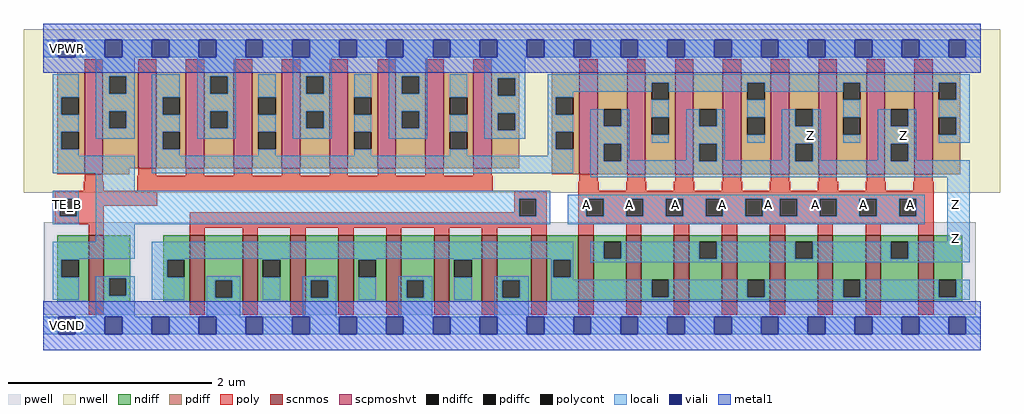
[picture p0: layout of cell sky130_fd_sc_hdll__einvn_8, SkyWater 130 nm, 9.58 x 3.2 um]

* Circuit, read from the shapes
.subckt sky130_fd_sc_hdll__einvn_8 A TE_B VGND VNB VPB VPWR Z
XM1 VGND TE_B n1 VNB sky130_fd_pr__nfet_01v8 w=0.65 l=0.15
XM2 VGND n1 n2 VNB sky130_fd_pr__nfet_01v8 w=0.65 l=0.15 m=8
XM3 Z A n2 VNB sky130_fd_pr__nfet_01v8 w=0.65 l=0.15 m=8
XM4 VPWR TE_B n1 VPB sky130_fd_pr__pfet_01v8_hvt w=1 l=0.18
XM5 n3 TE_B VPWR VPB sky130_fd_pr__pfet_01v8_hvt w=0.94 l=0.18 m=8
XM6 Z A n3 VPB sky130_fd_pr__pfet_01v8_hvt w=1 l=0.18 m=8
.ends

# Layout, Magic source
magic
tech sky130A
magscale 1 2
<< nwell >>
rect -38 261 1878 582
<< pwell >>
rect 1 21 1830 203
rect 30 -17 64 21
<< scnmos >>
rect 89 47 119 177
rect 287 47 317 177
rect 391 47 421 177
rect 485 47 515 177
rect 579 47 609 177
rect 673 47 703 177
rect 767 47 797 177
rect 861 47 891 177
rect 958 47 988 177
rect 1050 47 1080 177
rect 1144 47 1174 177
rect 1238 47 1268 177
rect 1332 47 1362 177
rect 1426 47 1456 177
rect 1520 47 1550 177
rect 1614 47 1644 177
rect 1718 47 1748 177
<< scpmoshvt >>
rect 81 297 117 497
rect 186 309 222 497
rect 280 309 316 497
rect 374 309 410 497
rect 468 309 504 497
rect 562 309 598 497
rect 656 309 692 497
rect 750 309 786 497
rect 844 309 880 497
rect 1052 297 1088 497
rect 1146 297 1182 497
rect 1240 297 1276 497
rect 1334 297 1370 497
rect 1428 297 1464 497
rect 1522 297 1558 497
rect 1616 297 1652 497
rect 1710 297 1746 497
<< ndiff >>
rect 27 129 89 177
rect 27 95 35 129
rect 69 95 89 129
rect 27 47 89 95
rect 119 93 171 177
rect 119 59 129 93
rect 163 59 171 93
rect 119 47 171 59
rect 235 129 287 177
rect 235 95 243 129
rect 277 95 287 129
rect 235 47 287 95
rect 317 89 391 177
rect 317 55 337 89
rect 371 55 391 89
rect 317 47 391 55
rect 421 129 485 177
rect 421 95 431 129
rect 465 95 485 129
rect 421 47 485 95
rect 515 89 579 177
rect 515 55 525 89
rect 559 55 579 89
rect 515 47 579 55
rect 609 129 673 177
rect 609 95 619 129
rect 653 95 673 129
rect 609 47 673 95
rect 703 89 767 177
rect 703 55 713 89
rect 747 55 767 89
rect 703 47 767 55
rect 797 129 861 177
rect 797 95 807 129
rect 841 95 861 129
rect 797 47 861 95
rect 891 89 958 177
rect 891 55 901 89
rect 935 55 958 89
rect 891 47 958 55
rect 988 129 1050 177
rect 988 95 1001 129
rect 1035 95 1050 129
rect 988 47 1050 95
rect 1080 165 1144 177
rect 1080 131 1100 165
rect 1134 131 1144 165
rect 1080 47 1144 131
rect 1174 90 1238 177
rect 1174 56 1194 90
rect 1228 56 1238 90
rect 1174 47 1238 56
rect 1268 165 1332 177
rect 1268 131 1288 165
rect 1322 131 1332 165
rect 1268 47 1332 131
rect 1362 90 1426 177
rect 1362 56 1382 90
rect 1416 56 1426 90
rect 1362 47 1426 56
rect 1456 165 1520 177
rect 1456 131 1476 165
rect 1510 131 1520 165
rect 1456 47 1520 131
rect 1550 90 1614 177
rect 1550 56 1570 90
rect 1604 56 1614 90
rect 1550 47 1614 56
rect 1644 165 1718 177
rect 1644 131 1664 165
rect 1698 131 1718 165
rect 1644 47 1718 131
rect 1748 90 1804 177
rect 1748 56 1758 90
rect 1792 56 1804 90
rect 1748 47 1804 56
<< pdiff >>
rect 27 448 81 497
rect 27 414 35 448
rect 69 414 81 448
rect 27 380 81 414
rect 27 346 35 380
rect 69 346 81 380
rect 27 297 81 346
rect 117 489 186 497
rect 117 455 129 489
rect 163 455 186 489
rect 117 421 186 455
rect 117 387 129 421
rect 163 387 186 421
rect 117 309 186 387
rect 222 448 280 497
rect 222 414 234 448
rect 268 414 280 448
rect 222 380 280 414
rect 222 346 234 380
rect 268 346 280 380
rect 222 309 280 346
rect 316 489 374 497
rect 316 455 328 489
rect 362 455 374 489
rect 316 421 374 455
rect 316 387 328 421
rect 362 387 374 421
rect 316 309 374 387
rect 410 448 468 497
rect 410 414 422 448
rect 456 414 468 448
rect 410 380 468 414
rect 410 346 422 380
rect 456 346 468 380
rect 410 309 468 346
rect 504 489 562 497
rect 504 455 516 489
rect 550 455 562 489
rect 504 421 562 455
rect 504 387 516 421
rect 550 387 562 421
rect 504 309 562 387
rect 598 448 656 497
rect 598 414 610 448
rect 644 414 656 448
rect 598 380 656 414
rect 598 346 610 380
rect 644 346 656 380
rect 598 309 656 346
rect 692 489 750 497
rect 692 455 704 489
rect 738 455 750 489
rect 692 421 750 455
rect 692 387 704 421
rect 738 387 750 421
rect 692 309 750 387
rect 786 448 844 497
rect 786 414 798 448
rect 832 414 844 448
rect 786 380 844 414
rect 786 346 798 380
rect 832 346 844 380
rect 786 309 844 346
rect 880 485 934 497
rect 880 451 892 485
rect 926 451 934 485
rect 880 417 934 451
rect 880 383 892 417
rect 926 383 934 417
rect 880 309 934 383
rect 998 448 1052 497
rect 998 414 1006 448
rect 1040 414 1052 448
rect 998 380 1052 414
rect 998 346 1006 380
rect 1040 346 1052 380
rect 117 297 169 309
rect 998 297 1052 346
rect 1088 425 1146 497
rect 1088 391 1100 425
rect 1134 391 1146 425
rect 1088 357 1146 391
rect 1088 323 1100 357
rect 1134 323 1146 357
rect 1088 297 1146 323
rect 1182 477 1240 497
rect 1182 443 1194 477
rect 1228 443 1240 477
rect 1182 409 1240 443
rect 1182 375 1194 409
rect 1228 375 1240 409
rect 1182 297 1240 375
rect 1276 425 1334 497
rect 1276 391 1288 425
rect 1322 391 1334 425
rect 1276 357 1334 391
rect 1276 323 1288 357
rect 1322 323 1334 357
rect 1276 297 1334 323
rect 1370 477 1428 497
rect 1370 443 1382 477
rect 1416 443 1428 477
rect 1370 409 1428 443
rect 1370 375 1382 409
rect 1416 375 1428 409
rect 1370 297 1428 375
rect 1464 425 1522 497
rect 1464 391 1476 425
rect 1510 391 1522 425
rect 1464 357 1522 391
rect 1464 323 1476 357
rect 1510 323 1522 357
rect 1464 297 1522 323
rect 1558 477 1616 497
rect 1558 443 1570 477
rect 1604 443 1616 477
rect 1558 409 1616 443
rect 1558 375 1570 409
rect 1604 375 1616 409
rect 1558 297 1616 375
rect 1652 425 1710 497
rect 1652 391 1664 425
rect 1698 391 1710 425
rect 1652 357 1710 391
rect 1652 323 1664 357
rect 1698 323 1710 357
rect 1652 297 1710 323
rect 1746 477 1800 497
rect 1746 443 1758 477
rect 1792 443 1800 477
rect 1746 409 1800 443
rect 1746 375 1758 409
rect 1792 375 1800 409
rect 1746 297 1800 375
<< ndiffc >>
rect 35 95 69 129
rect 129 59 163 93
rect 243 95 277 129
rect 337 55 371 89
rect 431 95 465 129
rect 525 55 559 89
rect 619 95 653 129
rect 713 55 747 89
rect 807 95 841 129
rect 901 55 935 89
rect 1001 95 1035 129
rect 1100 131 1134 165
rect 1194 56 1228 90
rect 1288 131 1322 165
rect 1382 56 1416 90
rect 1476 131 1510 165
rect 1570 56 1604 90
rect 1664 131 1698 165
rect 1758 56 1792 90
<< pdiffc >>
rect 35 414 69 448
rect 35 346 69 380
rect 129 455 163 489
rect 129 387 163 421
rect 234 414 268 448
rect 234 346 268 380
rect 328 455 362 489
rect 328 387 362 421
rect 422 414 456 448
rect 422 346 456 380
rect 516 455 550 489
rect 516 387 550 421
rect 610 414 644 448
rect 610 346 644 380
rect 704 455 738 489
rect 704 387 738 421
rect 798 414 832 448
rect 798 346 832 380
rect 892 451 926 485
rect 892 383 926 417
rect 1006 414 1040 448
rect 1006 346 1040 380
rect 1100 391 1134 425
rect 1100 323 1134 357
rect 1194 443 1228 477
rect 1194 375 1228 409
rect 1288 391 1322 425
rect 1288 323 1322 357
rect 1382 443 1416 477
rect 1382 375 1416 409
rect 1476 391 1510 425
rect 1476 323 1510 357
rect 1570 443 1604 477
rect 1570 375 1604 409
rect 1664 391 1698 425
rect 1664 323 1698 357
rect 1758 443 1792 477
rect 1758 375 1792 409
<< poly >>
rect 81 497 117 523
rect 186 497 222 523
rect 280 497 316 523
rect 374 497 410 523
rect 468 497 504 523
rect 562 497 598 523
rect 656 497 692 523
rect 750 497 786 523
rect 844 497 880 523
rect 1052 497 1088 523
rect 1146 497 1182 523
rect 1240 497 1276 523
rect 1334 497 1370 523
rect 1428 497 1464 523
rect 1522 497 1558 523
rect 1616 497 1652 523
rect 1710 497 1746 523
rect 81 282 117 297
rect 186 294 222 309
rect 280 294 316 309
rect 374 294 410 309
rect 468 294 504 309
rect 562 294 598 309
rect 656 294 692 309
rect 750 294 786 309
rect 844 294 880 309
rect 79 265 119 282
rect 184 265 882 294
rect 1052 282 1088 297
rect 1146 282 1182 297
rect 1240 282 1276 297
rect 1334 282 1370 297
rect 1428 282 1464 297
rect 1522 282 1558 297
rect 1616 282 1652 297
rect 1710 282 1746 297
rect 1050 265 1090 282
rect 1144 265 1184 282
rect 1238 265 1278 282
rect 1332 265 1372 282
rect 1426 265 1466 282
rect 1520 265 1560 282
rect 1614 265 1654 282
rect 1708 265 1748 282
rect 22 264 882 265
rect 22 249 224 264
rect 22 215 32 249
rect 66 235 224 249
rect 924 249 988 265
rect 66 215 119 235
rect 924 222 934 249
rect 22 199 119 215
rect 89 177 119 199
rect 287 215 934 222
rect 968 215 988 249
rect 287 192 988 215
rect 287 177 317 192
rect 391 177 421 192
rect 485 177 515 192
rect 579 177 609 192
rect 673 177 703 192
rect 767 177 797 192
rect 861 177 891 192
rect 958 177 988 192
rect 1050 249 1748 265
rect 1050 215 1066 249
rect 1100 215 1144 249
rect 1178 215 1222 249
rect 1256 215 1300 249
rect 1334 215 1378 249
rect 1412 215 1446 249
rect 1480 215 1524 249
rect 1558 215 1602 249
rect 1636 215 1680 249
rect 1714 215 1748 249
rect 1050 199 1748 215
rect 1050 177 1080 199
rect 1144 177 1174 199
rect 1238 177 1268 199
rect 1332 177 1362 199
rect 1426 177 1456 199
rect 1520 177 1550 199
rect 1614 177 1644 199
rect 1718 177 1748 199
rect 89 21 119 47
rect 287 21 317 47
rect 391 21 421 47
rect 485 21 515 47
rect 579 21 609 47
rect 673 21 703 47
rect 767 21 797 47
rect 861 21 891 47
rect 958 21 988 47
rect 1050 21 1080 47
rect 1144 21 1174 47
rect 1238 21 1268 47
rect 1332 21 1362 47
rect 1426 21 1456 47
rect 1520 21 1550 47
rect 1614 21 1644 47
rect 1718 21 1748 47
<< polycont >>
rect 32 215 66 249
rect 934 215 968 249
rect 1066 215 1100 249
rect 1144 215 1178 249
rect 1222 215 1256 249
rect 1300 215 1334 249
rect 1378 215 1412 249
rect 1446 215 1480 249
rect 1524 215 1558 249
rect 1602 215 1636 249
rect 1680 215 1714 249
<< locali >>
rect 0 527 29 561
rect 63 527 121 561
rect 155 527 213 561
rect 247 527 305 561
rect 339 527 397 561
rect 431 527 489 561
rect 523 527 581 561
rect 615 527 673 561
rect 707 527 765 561
rect 799 527 857 561
rect 891 527 949 561
rect 983 527 1041 561
rect 1075 527 1133 561
rect 1167 527 1225 561
rect 1259 527 1317 561
rect 1351 527 1409 561
rect 1443 527 1501 561
rect 1535 527 1593 561
rect 1627 527 1685 561
rect 1719 527 1777 561
rect 1811 527 1840 561
rect 18 448 69 493
rect 18 414 35 448
rect 18 380 69 414
rect 18 346 35 380
rect 103 489 179 527
rect 103 455 129 489
rect 163 455 179 489
rect 103 421 179 455
rect 103 387 129 421
rect 163 387 179 421
rect 103 367 179 387
rect 213 448 268 493
rect 213 414 234 448
rect 213 380 268 414
rect 18 333 69 346
rect 213 346 234 380
rect 302 489 378 527
rect 302 455 328 489
rect 362 455 378 489
rect 302 421 378 455
rect 302 387 328 421
rect 362 387 378 421
rect 302 367 378 387
rect 422 448 456 493
rect 422 380 456 414
rect 213 333 268 346
rect 490 489 566 527
rect 490 455 516 489
rect 550 455 566 489
rect 490 421 566 455
rect 490 387 516 421
rect 550 387 566 421
rect 490 367 566 387
rect 610 448 644 493
rect 610 380 644 414
rect 422 333 456 346
rect 678 489 754 527
rect 678 455 704 489
rect 738 455 754 489
rect 678 421 754 455
rect 678 387 704 421
rect 738 387 754 421
rect 678 367 754 387
rect 798 448 832 493
rect 798 380 832 414
rect 610 333 644 346
rect 866 485 946 527
rect 866 451 892 485
rect 926 451 946 485
rect 866 417 946 451
rect 866 383 892 417
rect 926 383 946 417
rect 866 367 946 383
rect 990 477 1819 493
rect 990 459 1194 477
rect 990 448 1040 459
rect 990 414 1006 448
rect 1228 459 1382 477
rect 990 380 1040 414
rect 798 333 832 346
rect 990 346 1006 380
rect 990 333 1040 346
rect 18 299 179 333
rect 213 299 1040 333
rect 1074 391 1100 425
rect 1134 391 1150 425
rect 1074 357 1150 391
rect 1194 409 1228 443
rect 1416 459 1570 477
rect 1194 359 1228 375
rect 1262 391 1288 425
rect 1322 391 1338 425
rect 1074 323 1100 357
rect 1134 325 1150 357
rect 1262 357 1338 391
rect 1382 409 1416 443
rect 1604 459 1758 477
rect 1382 359 1416 375
rect 1450 391 1476 425
rect 1510 391 1526 425
rect 1262 325 1288 357
rect 1134 323 1288 325
rect 1322 325 1338 357
rect 1450 357 1526 391
rect 1570 409 1604 443
rect 1792 443 1819 477
rect 1570 359 1604 375
rect 1638 391 1664 425
rect 1698 391 1714 425
rect 1450 325 1476 357
rect 1322 323 1476 325
rect 1510 325 1526 357
rect 1638 357 1714 391
rect 1758 409 1819 443
rect 1792 375 1819 409
rect 1758 359 1819 375
rect 1638 325 1664 357
rect 1510 323 1664 325
rect 1698 325 1714 357
rect 1698 323 1819 325
rect 103 265 179 299
rect 1074 291 1819 323
rect 18 249 69 265
rect 18 215 32 249
rect 66 215 69 249
rect 18 199 69 215
rect 103 249 995 265
rect 103 215 934 249
rect 968 215 995 249
rect 103 199 995 215
rect 1029 249 1730 257
rect 1029 215 1066 249
rect 1100 215 1144 249
rect 1178 215 1222 249
rect 1256 215 1300 249
rect 1334 215 1378 249
rect 1412 215 1446 249
rect 1480 215 1524 249
rect 1558 215 1602 249
rect 1636 215 1680 249
rect 1714 215 1730 249
rect 1029 199 1730 215
rect 103 165 179 199
rect 1774 165 1819 291
rect 18 131 179 165
rect 213 131 1040 165
rect 18 129 69 131
rect 18 95 35 129
rect 213 129 277 131
rect 18 51 69 95
rect 103 93 179 97
rect 103 59 129 93
rect 163 59 179 93
rect 103 17 179 59
rect 213 95 243 129
rect 431 129 465 131
rect 213 51 277 95
rect 321 89 387 97
rect 321 55 337 89
rect 371 55 387 89
rect 321 17 387 55
rect 619 129 653 131
rect 431 51 465 95
rect 509 89 575 97
rect 509 55 525 89
rect 559 55 575 89
rect 509 17 575 55
rect 807 129 841 131
rect 619 51 653 95
rect 697 89 763 97
rect 697 55 713 89
rect 747 55 763 89
rect 697 17 763 55
rect 997 129 1040 131
rect 807 51 841 95
rect 885 89 953 97
rect 885 55 901 89
rect 935 55 953 89
rect 885 17 953 55
rect 997 95 1001 129
rect 1035 95 1040 129
rect 1074 131 1100 165
rect 1134 131 1288 165
rect 1322 131 1476 165
rect 1510 131 1664 165
rect 1698 131 1819 165
rect 1074 124 1819 131
rect 997 90 1040 95
rect 997 56 1194 90
rect 1228 56 1382 90
rect 1416 56 1570 90
rect 1604 56 1758 90
rect 1792 56 1819 90
rect 997 51 1819 56
rect 0 -17 29 17
rect 63 -17 121 17
rect 155 -17 213 17
rect 247 -17 305 17
rect 339 -17 397 17
rect 431 -17 489 17
rect 523 -17 581 17
rect 615 -17 673 17
rect 707 -17 765 17
rect 799 -17 857 17
rect 891 -17 949 17
rect 983 -17 1041 17
rect 1075 -17 1133 17
rect 1167 -17 1225 17
rect 1259 -17 1317 17
rect 1351 -17 1409 17
rect 1443 -17 1501 17
rect 1535 -17 1593 17
rect 1627 -17 1685 17
rect 1719 -17 1777 17
rect 1811 -17 1840 17
<< viali >>
rect 29 527 63 561
rect 121 527 155 561
rect 213 527 247 561
rect 305 527 339 561
rect 397 527 431 561
rect 489 527 523 561
rect 581 527 615 561
rect 673 527 707 561
rect 765 527 799 561
rect 857 527 891 561
rect 949 527 983 561
rect 1041 527 1075 561
rect 1133 527 1167 561
rect 1225 527 1259 561
rect 1317 527 1351 561
rect 1409 527 1443 561
rect 1501 527 1535 561
rect 1593 527 1627 561
rect 1685 527 1719 561
rect 1777 527 1811 561
rect 29 -17 63 17
rect 121 -17 155 17
rect 213 -17 247 17
rect 305 -17 339 17
rect 397 -17 431 17
rect 489 -17 523 17
rect 581 -17 615 17
rect 673 -17 707 17
rect 765 -17 799 17
rect 857 -17 891 17
rect 949 -17 983 17
rect 1041 -17 1075 17
rect 1133 -17 1167 17
rect 1225 -17 1259 17
rect 1317 -17 1351 17
rect 1409 -17 1443 17
rect 1501 -17 1535 17
rect 1593 -17 1627 17
rect 1685 -17 1719 17
rect 1777 -17 1811 17
<< metal1 >>
rect 0 561 1840 592
rect 0 527 29 561
rect 63 527 121 561
rect 155 527 213 561
rect 247 527 305 561
rect 339 527 397 561
rect 431 527 489 561
rect 523 527 581 561
rect 615 527 673 561
rect 707 527 765 561
rect 799 527 857 561
rect 891 527 949 561
rect 983 527 1041 561
rect 1075 527 1133 561
rect 1167 527 1225 561
rect 1259 527 1317 561
rect 1351 527 1409 561
rect 1443 527 1501 561
rect 1535 527 1593 561
rect 1627 527 1685 561
rect 1719 527 1777 561
rect 1811 527 1840 561
rect 0 496 1840 527
rect 0 17 1840 48
rect 0 -17 29 17
rect 63 -17 121 17
rect 155 -17 213 17
rect 247 -17 305 17
rect 339 -17 397 17
rect 431 -17 489 17
rect 523 -17 581 17
rect 615 -17 673 17
rect 707 -17 765 17
rect 799 -17 857 17
rect 891 -17 949 17
rect 983 -17 1041 17
rect 1075 -17 1133 17
rect 1167 -17 1225 17
rect 1259 -17 1317 17
rect 1351 -17 1409 17
rect 1443 -17 1501 17
rect 1535 -17 1593 17
rect 1627 -17 1685 17
rect 1719 -17 1777 17
rect 1811 -17 1840 17
rect 0 -48 1840 -17
<< labels >>
flabel locali s 1316 221 1350 255 0 FreeSans 200 0 0 0 A
port 1 nsew signal input
flabel locali s 30 221 64 255 0 FreeSans 200 0 0 0 TE_B
port 2 nsew signal input
flabel locali s 1406 221 1440 255 0 FreeSans 200 0 0 0 A
port 1 nsew signal input
flabel locali s 1499 221 1533 255 0 FreeSans 200 0 0 0 A
port 1 nsew signal input
flabel locali s 1672 357 1706 391 0 FreeSans 200 0 0 0 Z
port 7 nsew signal output
flabel locali s 1489 357 1523 391 0 FreeSans 200 0 0 0 Z
port 7 nsew signal output
flabel locali s 1774 153 1808 187 0 FreeSans 200 0 0 0 Z
port 7 nsew signal output
flabel locali s 1774 221 1808 255 0 FreeSans 200 0 0 0 Z
port 7 nsew signal output
flabel locali s 1593 221 1627 255 0 FreeSans 200 0 0 0 A
port 1 nsew signal input
flabel locali s 1050 221 1084 255 0 FreeSans 200 0 0 0 A
port 1 nsew signal input
flabel locali s 1133 221 1167 255 0 FreeSans 200 0 0 0 A
port 1 nsew signal input
flabel locali s 1223 221 1257 255 0 FreeSans 200 0 0 0 A
port 1 nsew signal input
flabel locali s 1685 221 1719 255 0 FreeSans 200 0 0 0 A
port 1 nsew signal input
flabel metal1 s 30 -17 64 17 0 FreeSans 200 0 0 0 VGND
port 3 nsew ground bidirectional
flabel metal1 s 30 527 64 561 0 FreeSans 200 0 0 0 VPWR
port 6 nsew power bidirectional
flabel nwell s 30 527 64 561 0 FreeSans 200 0 0 0 VPB
port 5 nsew power bidirectional
flabel pwell s 30 -17 64 17 0 FreeSans 200 0 0 0 VNB
port 4 nsew ground bidirectional
<< properties >>
string LEFsite unithd
string LEFclass CORE
string FIXED_BBOX 0 0 1840 544
string GDS_FILE $PDKPATH/libs.ref/sky130_fd_sc_hdll/gds/sky130_fd_sc_hdll.gds
string LEFsymmetry X Y R90
string GDS_END 2060134
string GDS_START 2047226
string LEFproperties maskLayoutSubType "abstract" prCellType "standard" originalViewName "layout"
<< end >>
